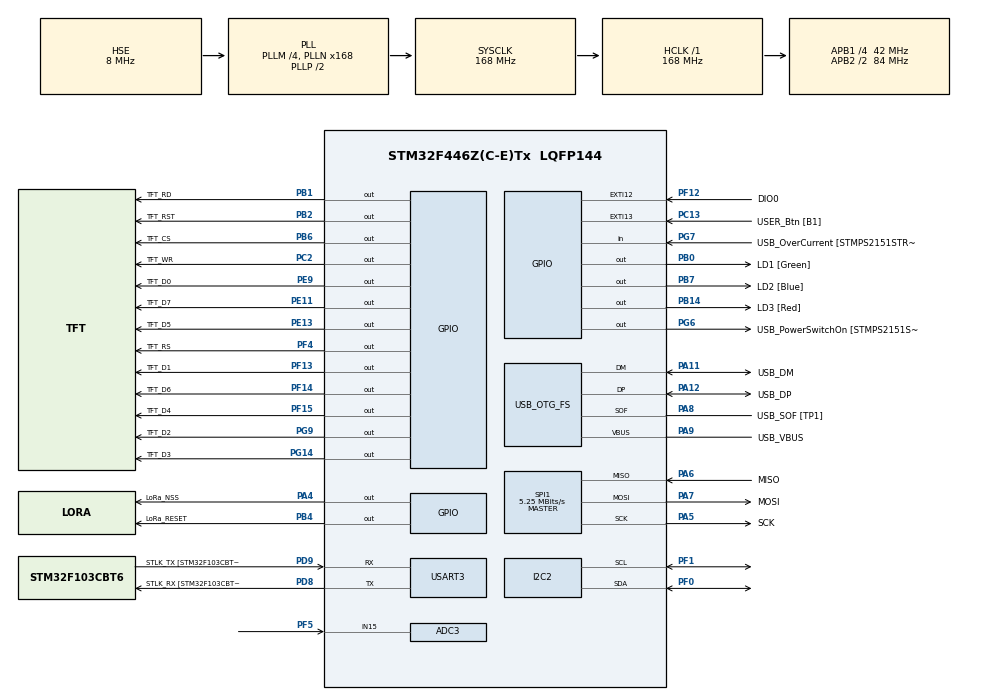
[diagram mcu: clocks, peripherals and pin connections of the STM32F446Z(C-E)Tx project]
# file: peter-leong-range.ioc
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ADC3.Channel-0\#ChannelRegularConversion=ADC_CHANNEL_15
ADC3.NbrOfConversionFlag=1
ADC3.Rank-0\#ChannelRegularConversion=1
ADC3.SamplingTime-0\#ChannelRegularConversion=ADC_SAMPLETIME_3CYCLES
Mcu.Family=STM32F4
Mcu.Name=STM32F446Z(C-E)Tx
Mcu.Package=LQFP144
NVIC.EXTI15_10_IRQn=true\:0\:0\:false\:false\:true\:true\:true\:true
NVIC.PriorityGroup=NVIC_PRIORITYGROUP_4
PA10.GPIO_Label=USB_ID
PA10.Signal=USB_OTG_FS_ID
PA11.GPIO_Label=USB_DM
PA11.Mode=Device_Only
PA11.Signal=USB_OTG_FS_DM
PA12.GPIO_Label=USB_DP
PA12.Mode=Device_Only
PA12.Signal=USB_OTG_FS_DP
PA13.GPIO_Label=TMS
PA13.Mode=Serial_Wire
PA13.Signal=SYS_JTMS-SWDIO
PA14.GPIO_Label=TCK
PA14.Mode=Serial_Wire
PA14.Signal=SYS_JTCK-SWCLK
PA4.GPIO_Label=LoRa_NSS
PA4.PinState=GPIO_PIN_SET
PA4.Signal=GPIO_Output
PA5.GPIO_Label=SCK
PA5.Mode=Full_Duplex_Master
PA5.Signal=SPI1_SCK
PA6.GPIO_Label=MISO
PA6.Mode=Full_Duplex_Master
PA6.Signal=SPI1_MISO
PA7.GPIO_Label=MOSI
PA7.Mode=Full_Duplex_Master
PA7.Signal=SPI1_MOSI
PA8.GPIO_Label=USB_SOF [TP1]
PA8.Mode=Activate_SOF_FS
PA8.Signal=USB_OTG_FS_SOF
PA9.GPIO_Label=USB_VBUS
PA9.Mode=Activate_VBUS
PA9.Signal=USB_OTG_FS_VBUS
PB0.GPIO_Label=LD1 [Green]
PB0.Signal=GPIO_Output
PB1.GPIO_Label=TFT_RD
PB1.GPIO_Speed=GPIO_SPEED_FREQ_VERY_HIGH
PB1.PinState=GPIO_PIN_SET
PB1.Signal=GPIO_Output
PB14.GPIO_Label=LD3 [Red]
PB14.Signal=GPIO_Output
PB2.GPIO_Label=TFT_RST
PB2.GPIO_Speed=GPIO_SPEED_FREQ_VERY_HIGH
PB2.PinState=GPIO_PIN_SET
PB2.Signal=GPIO_Output
PB4.GPIO_Label=LoRa_RESET
PB4.PinState=GPIO_PIN_SET
PB4.Signal=GPIO_Output
PB6.GPIO_Label=TFT_CS
PB6.GPIO_Speed=GPIO_SPEED_FREQ_VERY_HIGH
PB6.PinState=GPIO_PIN_SET
PB6.Signal=GPIO_Output
PB7.GPIO_Label=LD2 [Blue]
PB7.Signal=GPIO_Output
PC13.GPIO_Label=USER_Btn [B1]
PC13.Signal=GPXTI13
PC14-OSC32_IN.Mode=LSE-External-Oscillator
PC14-OSC32_IN.Signal=RCC_OSC32_IN
PC15-OSC32_OUT.Mode=LSE-External-Oscillator
PC15-OSC32_OUT.Signal=RCC_OSC32_OUT
PC2.GPIO_Label=TFT_WR
PC2.GPIO_Speed=GPIO_SPEED_FREQ_VERY_HIGH
PC2.Signal=GPIO_Output
PD8.GPIO_Label=STLK_RX [STM32F103CBT6_PA3]
PD8.Mode=Asynchronous
PD8.Signal=USART3_TX
PD9.GPIO_Label=STLK_TX [STM32F103CBT6_PA2]
PD9.Mode=Asynchronous
PD9.Signal=USART3_RX
PE11.GPIO_Label=TFT_D7
PE11.GPIO_Speed=GPIO_SPEED_FREQ_VERY_HIGH
PE11.Signal=GPIO_Output
PE13.GPIO_Label=TFT_D5
PE13.GPIO_Speed=GPIO_SPEED_FREQ_VERY_HIGH
PE13.Signal=GPIO_Output
PE9.GPIO_Label=TFT_D0
PE9.GPIO_Speed=GPIO_SPEED_FREQ_VERY_HIGH
PE9.Signal=GPIO_Output
PF0.Mode=I2C
PF0.Signal=I2C2_SDA
PF1.Mode=I2C
PF1.Signal=I2C2_SCL
PF12.GPIO_Label=DIO0
PF12.Signal=GPXTI12
PF13.GPIO_Label=TFT_D1
PF13.GPIO_Speed=GPIO_SPEED_FREQ_VERY_HIGH
PF13.Signal=GPIO_Output
PF14.GPIO_Label=TFT_D6
PF14.GPIO_Speed=GPIO_SPEED_FREQ_VERY_HIGH
PF14.Signal=GPIO_Output
PF15.GPIO_Label=TFT_D4
PF15.GPIO_Speed=GPIO_SPEED_FREQ_VERY_HIGH
PF15.Signal=GPIO_Output
PF4.GPIO_Label=TFT_RS
PF4.GPIO_Speed=GPIO_SPEED_FREQ_VERY_HIGH
PF4.Signal=GPIO_Output
PF5.Mode=IN15
PF5.Signal=ADC3_IN15
PG14.GPIO_Label=TFT_D3
PG14.GPIO_Speed=GPIO_SPEED_FREQ_VERY_HIGH
PG14.Signal=GPIO_Output
PG6.GPIO_Label=USB_PowerSwitchOn [STMPS2151STR_EN]
PG6.Signal=GPIO_Output
PG7.GPIO_Label=USB_OverCurrent [STMPS2151STR_FAULT]
PG7.Signal=GPIO_Input
PG9.GPIO_Label=TFT_D2
PG9.GPIO_Speed=GPIO_SPEED_FREQ_VERY_HIGH
PG9.Signal=GPIO_Output
PH0-OSC_IN.GPIO_Label=MCO [STM32F103CBT6_PA8]
PH0-OSC_IN.Mode=HSE-External-Clock-Source
PH0-OSC_IN.Signal=RCC_OSC_IN
PH1-OSC_OUT.Mode=HSE-External-Clock-Source
PH1-OSC_OUT.Signal=RCC_OSC_OUT
ProjectManager.HeapSize=0x200
ProjectManager.StackSize=0x400
ProjectManager.TargetToolchain=MDK-ARM V5.32
RCC.48MHZClocksFreq_Value=24000000
RCC.AHBFreq_Value=168000000
RCC.APB1CLKDivider=RCC_HCLK_DIV4
RCC.APB1Freq_Value=42000000
RCC.APB1TimFreq_Value=84000000
RCC.APB2CLKDivider=RCC_HCLK_DIV2
RCC.APB2Freq_Value=84000000
RCC.APB2TimFreq_Value=168000000
RCC.CortexFreq_Value=168000000
RCC.HCLKFreq_Value=168000000
RCC.HSE_VALUE=8000000
RCC.HSI_VALUE=16000000
RCC.PLLM=4
RCC.PLLMUL=RCC_PLL_MUL9
RCC.PLLN=168
RCC.PLLQ=7
RCC.PRESCALERUSB=RCC_USBCLKSOURCE_PLL_DIV1_5
RCC.SYSCLKFreq_VALUE=168000000
RCC.SYSCLKSource=RCC_SYSCLKSOURCE_PLLCLK
RCC.SYSCLKSourceVirtual=RCC_SYSCLKSOURCE_PLLCLK
RCC.USBFreq_Value=48000000
RCC.VCOOutputFreq_Value=336000000
SPI1.BaudRatePrescaler=SPI_BAUDRATEPRESCALER_16
SPI1.CalculateBaudRate=5.25 MBits/s
SPI1.Direction=SPI_DIRECTION_2LINES
SPI1.Mode=SPI_MODE_MASTER
SPI1.VirtualType=VM_MASTER
USART3.VirtualMode=VM_ASYNC
USB_OTG_FS.VirtualMode=Device_Only
board=NUCLEO-F446ZE

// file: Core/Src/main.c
/* USER CODE BEGIN Header */
/**
  ******************************************************************************
  * @file           : main.c
  * @brief          : Main program body
  ******************************************************************************
  * @attention
  *
  * Copyright (c) 2026 STMicroelectronics.
  * All rights reserved.
  *
  * This software is licensed under terms that can be found in the LICENSE file
  * in the root directory of this software component.
  * If no LICENSE file comes with this software, it is provided AS-IS.
  *
  ******************************************************************************
  */
/* USER CODE END Header */
#include "main.h"

/* USER CODE BEGIN Includes */
#include <stdio.h>
#include <string.h>
#include "LoRa.h"
#include "DFRobot_GNSS.h"
#include "ili9486.h"
#include "fonts.h"
#include "campus_map.h"
#include <math.h>

/* USER CODE END Includes */

/* USER CODE BEGIN PM */
#define GRID_STEP 40
#define SCREEN_REFRESH_PERIOD 500
#define BS_LONGITUDE -79.4042 //Longitude of Bloor-Spadina
#define BS_LATITUDE  43.666756 //Latitude of Bloor-Spadina
#define BY_LONGITUDE -79.386656 //Longitude of Bloor-Yonge
#define BY_LATITUDE 43.670444 //Latitude of Bloor-Yonge
#define M_PI 3.14159265358979323846
/* USER CODE END PM */

ADC_HandleTypeDef hadc3;

I2C_HandleTypeDef hi2c2;

SPI_HandleTypeDef hspi1;

UART_HandleTypeDef huart3;

PCD_HandleTypeDef hpcd_USB_OTG_FS;

void SystemClock_Config(void);
static void MX_GPIO_Init(void);
static void MX_SPI1_Init(void);
static void MX_USART3_UART_Init(void);
static void MX_USB_OTG_FS_PCD_Init(void);
static void MX_I2C2_Init(void);
static void MX_ADC3_Init(void);

/* USER CODE BEGIN 0 */

typedef enum {
	INIT,
	TX_RX,
	DRAW_SATS,
	DRAW_FAILED,
	DRAW_RSSI,
	PLOT_SELF,
	PLOT_OTHER
} SystemState;

//LoRa object and GNSS object
LoRa myLoRa;
DFRobot_GNSS_t gnss;

//Buffer to RECEIVE data
uint8_t received_data[64]; //raw data buffer
uint8_t packet_size = 0;
char msg_buffer[65]; //buffer for decoded string

//GNSS data object
sGNSS_Data_t currentData;
sGNSS_Data_t otherData;
//Buffer to TRANSMIT data
char lora_payload[64];

//Buffer for string that appears on DISPLAY
char string_buffer[100];
//Buffer for string that appears in serial monitor (for debugging)
char message[100];

//Landmark coordinates that appear on the map (RED)
const double landmarks[][2] = {
    {43.664391190112326, -79.39938251880149},  //Robarts
    {43.667395499459666, -79.39473914822973},  //ROM
    {43.66398503010839, -79.3943497650812},  //Hart House
    {43.662153820104415, -79.39143271015502},  //Legislative Assembly
};
const int num_landmarks = 4;

//Scale and angle parameters for map
static double scale = 0;
static double cos_a, sin_a, cos_lat;

//Print function for serial monitor
void print_msg(char *msg) {
	HAL_UART_Transmit(&huart3, (uint8_t *)msg, strlen(msg), 100);
}

/**
 * @brief Prints the current system state and # satellites to serial monitor.
 */
void Log_System_Status(SystemState state, int sats) {
    char state_name[20];

    // Get current state as a string
    switch (state) {
        case INIT:         strcpy(state_name, "INIT"); break;
        case TX_RX:        strcpy(state_name, "TX_RX"); break;
        case DRAW_SATS:    strcpy(state_name, "DRAW_SATS"); break;
        case DRAW_FAILED:  strcpy(state_name, "DRAW_FAILED"); break;
        case DRAW_RSSI:    strcpy(state_name, "DRAW_RSSI"); break;
        case PLOT_SELF:         strcpy(state_name, "PLOT_SELF"); break;
				case PLOT_OTHER:         strcpy(state_name, "PLOT_OTHER"); break;
        default:           strcpy(state_name, "UNKNOWN"); break;
    }

    // Prints state name and satellite count to serial monitor
    sprintf(message, "\r\n[STATE: %s] - Sats visible: %d\r\n", state_name, sats);
    print_msg(message);
}

/**
 * @brief  Initializing peripherals.
 * @return 1 if all peripherals initialized successfully, 0 if ANY failed.
 */
uint8_t setup_peripherals(void) {
    uint8_t status = 1; // Starts with success flag high

    sprintf(message, "\nStarting\n"); //Startup message (serial)
    print_msg(message);

    // DISPLAY SETUP
    ILI9486_Init();
    ILI9486_SetRotation(1); //Screen orientation
    ILI9486_FillScreen(ILI9486_ColorRGB(0, 0, 0)); //Black background
    ILI9486_DrawString(10, 10, "Starting Peter Long Range...", Font_11x18, WHITE, BLACK); //Display startup message on screen

    // LORA SETUP
    myLoRa = newLoRa();
    myLoRa.CS_port    = LoRa_NSS_GPIO_Port;
    myLoRa.CS_pin     = LoRa_NSS_Pin;
    myLoRa.reset_port = LoRa_RESET_GPIO_Port;
    myLoRa.reset_pin  = LoRa_RESET_Pin;
    myLoRa.DIO0_port  = DIO0_GPIO_Port;
    myLoRa.DIO0_pin   = DIO0_Pin;
    myLoRa.hSPIx      = &hspi1;

	//LoRa module handshake
    if (LoRa_init(&myLoRa) == LORA_OK) { //Module connected and recognized by controller
				//Serial confirmation
        sprintf(message, "LoRa Ready\r\n");
        print_msg(message);

	//Screen confirmation
        ILI9486_DrawString(10, 40, "LoRa Ready", Font_11x18, MAGENTA, BLACK);

    } else { //Error in module connection
				//Serial error message
        sprintf(message, "Error in LoRa connection\r\n");
        print_msg(message);

				//Screen error message
        ILI9486_DrawString(10, 40, "Error in LoRa connection", Font_11x18, RED, BLACK);
        status = 0; // Fail flag
    }

    // GNSS SETUP
    GNSS_Init(&gnss, &hi2c2); //I2C initialization
    GNSS_PowerControl(&gnss, true); //Turn on GNSS module

    // GNSS sensor handshake
    if (HAL_I2C_IsDeviceReady(&hi2c2, GNSS_DEVICE_ADDR, 1, 20000) == HAL_OK) { //GNSS is connected and recognized
				GNSS_SetMode(&gnss, eGPS_BeiDou_GLONASS); //GLONASS: receiving data from ALL satellites

				//Serial confirmation
        sprintf(message, "GNSS Ready");
        print_msg(message);

				//Screen confirmation
        ILI9486_DrawString(10, 70, "GNSS Ready", Font_11x18, GREEN, BLACK);
    } else { //Something wrong with GNSS connection
				//Serial error message
        sprintf(message, "Error in GNSS connection");
        print_msg(message);

				//Screen error message
        ILI9486_DrawString(10, 70, "Error in GNSS connection", Font_11x18, RED, BLACK);
        status = 0; // Fail flag
    }

    HAL_Delay(1000);

    return status;
}

/**
 * @brief  Gets GNSS data using DFRobot GNSS library
 * @param currentData - all data received from the GNSS module: latitude, longitude, satellite count, altitude, speed, course
 */
void GNSS_get_data() {
	// Gets data from GNSS module
	currentData = GNSS_GetAllData(&gnss);

	// Prints number of sats visible in the serial monitor
	sprintf(message, "\nSats visible: %d\r\n", currentData.satellites);
	print_msg(message);

	// Prints current coordinates in the serial monitor
	sprintf(message, "Lat: %f %c, Lon: %f %c\r\n",
					currentData.latitude, currentData.latDirection,
					currentData.longitude, currentData.lonDirection);
	print_msg(message);

// Puts coordinates and direction into data payload
	snprintf(lora_payload, sizeof(lora_payload), "%.6lf%c,%.6lf%c,%d",
    currentData.latitude,
    currentData.latDirection,
    currentData.longitude,
    currentData.lonDirection,
    currentData.satellites);
}

/**
 * @brief  TRANSMIT data with LoRa module
 */
void LoRa_Transmit() {
	//Successful transmission
	if(LoRa_transmit(&myLoRa, (uint8_t*)lora_payload, strlen(lora_payload), 100) == 1) {
		print_msg("\nTransmission Successful!\r"); //Serial monitor confirmation
	} else {
		print_msg("\nTransmission Failed.\r"); //Serial monitor error message
	}
}

/**
 * @brief  RECEIVES data with LoRa module, waits up to 2 seconds to receive a packet
 * @return 1 if packet was received, 0 if no packets were received
 */
uint8_t LoRa_Recieve() {
		//Turn on receive mode
    LoRa_startReceiving(&myLoRa);

		//Sets timer start time and timer length
    uint32_t startTime = HAL_GetTick();
    uint32_t timeout_ms = 2000; // wait up to 2 seconds to receive a packet

		//Keep waiting for a receive until timer runs out
    while (HAL_GetTick() - startTime < timeout_ms) {
				//Polls LoRa receive IRQ flag
        uint8_t irqFlags = LoRa_read(&myLoRa, RegIrqFlags);

        if (irqFlags & 0x40) { //Receive flag set
            //Checks for CRC error (bit 5)
            if (irqFlags & 0x20) {
                LoRa_write(&myLoRa, RegIrqFlags, 0xFF); //Clears receive flag to keep trying
                print_msg("CRC Error!\r\n"); //Serial error message
                return 0;
            }
            // No error, read received data
            packet_size = LoRa_receive(&myLoRa, received_data, sizeof(received_data));

            if (packet_size > 0) { // Data packet received
                memcpy(msg_buffer, received_data, packet_size); // Copies received data to receive message buffer
                msg_buffer[packet_size] = '\0'; // Null termination

								//Serial message of received data
                sprintf(message, "\nReceived: %s\r\n", msg_buffer);
                print_msg(message);

                return 1;
            }
        }
        HAL_Delay(10);
    }

		//Timer ran out without receiving anything
    print_msg("RX Timeout\r\n");
    return 0;
}

/**
 * @brief  Approximates Bloor-Spadina, Bloor-Yonge, College-Spadina, College-Yonge to a rectangle.
					 Calculates the tilt of the rectangle relative to lon-lat grid and scales lon-lat coordinates
					 to 480x320 array.
 */
void latlon_init(void) {
    cos_lat = cos(BS_LATITUDE * M_PI / 180.0); //Latitude correction for reference coordinate
		//Calculating difference in lon, lat between Bloor-Spadina (0,0) and Bloor-Yonge (480, 0)
    double dx = (BY_LONGITUDE - BS_LONGITUDE) * cos_lat;
    double dy = BY_LATITUDE - BS_LATITUDE;

		//Calculating angle tilt of map relative to lon-lat grid
    double angle = atan2(-dy, dx);
    cos_a = cos(angle);
    sin_a = sin(angle);
    double gx = cos_a * dx - sin_a * dy;
		//Calculates scaling factor using screen width
    scale = 480 / gx;
}

/**
 * @brief  Applies scaling rotational transformation to any input coordinates to map them to display pixels.
 * @param dx, dy - change in lon, lat from reference coordinate (Bloor-Spadina = (0,0))
 */
void latlon_to_px(double lon, double lat, int *px, int *py) {
    double dx = (lon - BS_LONGITUDE) * cos_lat;
    double dy = lat - BS_LATITUDE;
    double gx = cos_a * dx - sin_a * dy;
    double gy = sin_a * dx + cos_a * dy;
    *px = (int)(gx * scale);
    *py = (int)(-gy * scale);
}

/**
 * @brief  Draws a square of a certain color and size at given coordinates
 */
void draw_dot(int x, int y, int size, uint16_t color) {
    for (int dy = -size; dy <= size; dy++)
        for (int dx = -size; dx <= size; dx++)
            ILI9486_DrawPixel(x + dx, y + dy - 10, color);
}

/**
 * @brief  Marks certain landmarks on the map using the draw_dot function
 */
void draw_landmarks() {
    int x, y;
    for (int i = 0; i < num_landmarks; i++) {
        latlon_to_px(landmarks[i][1], landmarks[i][0], &x, &y);
        draw_dot(x, y, 2, 0xF800);
    }
}

// Track the last drawn position
static int last_my_x = -1,  last_my_y = -1;
static int last_other_x = -1, last_other_y = -1;

void draw_position(sGNSS_Data_t *data, int *last_x, int *last_y, int radius, uint16_t color) {

    // Erase previous
    if (*last_x >= 0 && *last_y >= 0) {
        for (int dy = -radius; dy <= radius; dy++) {
            for (int dx = -radius; dx <= radius; dx++) {
                int px = *last_x + dx;
                int py = *last_y + dy - 10;
                if (px < 0 || px >= CAMPUS_MAP_WIDTH || py < 0 || py >= CAMPUS_MAP_HEIGHT) continue;
                ILI9486_DrawPixel(px, py, CAMPUS_MAP[py * CAMPUS_MAP_WIDTH + px]);
            }
        }
    }

    int x, y;
    double lat = data->latitude;
    double lon = data->longitude;
    if (data->latDirection == 'S') lat = -lat;
    if (data->lonDirection == 'W') lon = -lon;

    latlon_to_px(lon, lat, &x, &y);

    if (x < 0 || x >= 480 || y < 0 || y >= 320) {
        sprintf(message, "Position out of bounds: x=%d y=%d\r\n", x, y);
        print_msg(message);
        return;
    }

    draw_dot(x, y, radius, color);
    *last_x = x;
    *last_y = y;
}

sGNSS_Data_t parse_lora_payload(char *payload) {
    sGNSS_Data_t data = {0};
    int sats_tmp = 0;

    if (sscanf(payload, "%lf%c,%lf%c,%d",
               &data.latitude,  &data.latDirection,
               &data.longitude, &data.lonDirection,
               &sats_tmp) != 5) {
        sprintf(message, "Parse failed: [%s]\r\n", payload);
        print_msg(message);
        return data;
    }
    data.satellites = (uint8_t)sats_tmp;

    sprintf(message, "Parsed - Lat: %f %c, Lon: %f %c, Sats: %d\r\n",
            data.latitude, data.latDirection,
            data.longitude, data.lonDirection,
            data.satellites);
    print_msg(message);

    return data;
}

void GNSS_simulate_walk(uint32_t step_ms, uint32_t num_steps) {

    static const double START_LAT =  43.663639;
    static const double START_LON = -79.390528;
    static const double END_LAT   =  43.664860;
    static const double END_LON   = -79.384875;

    static uint32_t current_step = 0;
    static uint32_t last_step_time = 0;
    static uint8_t forward = 1;          // 1 = walking to end, 0 = walking back

    uint32_t now = HAL_GetTick();

    // Advance one step if enough time has elapsed
    if (now - last_step_time >= step_ms) {
        last_step_time = now;

        if (forward) {
            current_step++;
            if (current_step >= num_steps) {
                current_step = num_steps;  // clamp at end
                forward = 0;               // reverse direction
            }
        } else {
            if (current_step > 0) {
                current_step--;
            } else {
                forward = 1;               // hit start, go forward again
            }
        }
    }

    // t in [0.0, 1.0]
    double t = (double)current_step / (double)num_steps;

    // Interpolate
    double sim_lat = START_LAT + t * (END_LAT - START_LAT);
    double sim_lon = START_LON + t * (END_LON - START_LON);

    // Pack into currentData
    currentData.latitude     = sim_lat;
    currentData.latDirection = 'N';
    currentData.longitude    = -sim_lon;
    currentData.lonDirection = 'W';
    currentData.satellites   = 6;

    snprintf(lora_payload, sizeof(lora_payload), "%.6lf%c,%.6lf%c,%d",
             currentData.latitude,  currentData.latDirection,
             currentData.longitude, currentData.lonDirection,
             currentData.satellites);

    sprintf(message, "Sats visible: %d\r\n", currentData.satellites);
}

/* USER CODE END 0 */
int main(void)
{

  /* MCU Configuration--------------------------------------------------------*/

  /* Reset of all peripherals, Initializes the Flash interface and the Systick. */
  HAL_Init();

  /* Configure the system clock */
  SystemClock_Config();

  /* Initialize all configured peripherals */
  MX_GPIO_Init();
  MX_SPI1_Init();
  MX_USART3_UART_Init();
  MX_USB_OTG_FS_PCD_Init();
  MX_I2C2_Init();
  MX_ADC3_Init();

  /* Infinite loop */
  /* USER CODE BEGIN WHILE */

	SystemState currentState = INIT;

	uint32_t refreshedTime = HAL_GetTick();
	uint8_t dataRecieved = 0;

  while (1) {
		// FSM
		switch (currentState) {
			case INIT: {
				uint8_t setupStatus = setup_peripherals();

				if (setupStatus) {
					latlon_init();
					// Draw the background
					ILI9486_DrawImage(0, 0, CAMPUS_MAP_WIDTH, CAMPUS_MAP_HEIGHT, CAMPUS_MAP);
					draw_landmarks();

					currentState = TX_RX;
				}
				break;
			}

			case TX_RX: {
				GNSS_get_data();
				// GNSS_simulate_walk(100, 10);
				LoRa_Transmit();
				dataRecieved = LoRa_Recieve();

				if (HAL_GetTick() - refreshedTime > SCREEN_REFRESH_PERIOD) {
					refreshedTime = HAL_GetTick();
					currentState = DRAW_SATS;
				}
				break;
			}

			case DRAW_SATS: {

				sprintf(string_buffer, "Sats Visible: %d", currentData.satellites);
				ILI9486_FillRect(10, 10, 200, 20, WHITE); // ERASE
				ILI9486_DrawString(10, 10, string_buffer, Font_11x18, RED, WHITE); // DRAW

				sprintf(message, "\n DRAW - Sats visible: %d\r\n", currentData.satellites);
				print_msg(message);

				if (dataRecieved) {
					currentState = DRAW_RSSI;
				} else {
					currentState = DRAW_FAILED;
				}
				break;
			}

			case DRAW_FAILED: {
				ILI9486_FillRect(200, 10, 200, 20, WHITE); // ERASE
				ILI9486_DrawString(200, 10, "Recieve Failed", Font_11x18, RED, WHITE);

				sprintf(message, "\nRecieved Failed\r\n");
				print_msg(message);

				// Plot self if we have a fix, regardless of other device
				if (currentData.satellites >= 3) {
						currentState = PLOT_SELF;
				} else {
						currentState = TX_RX;
				}
				break;
			}

			case DRAW_RSSI: {
				int32_t rssi = LoRa_getRSSI(&myLoRa);
				sprintf(string_buffer, "RSSI: %d dB", rssi);
				ILI9486_FillRect(200, 10, 170, 20, WHITE); // ERASE
				ILI9486_DrawString(200, 10, string_buffer, Font_11x18, RED, WHITE);

				// Always try to plot — PLOT_SELF and PLOT_OTHER each guard themselves
				currentState = PLOT_SELF;
				break;
			}

			case PLOT_SELF: {
				if (currentData.satellites >= 3) {
					draw_position(&currentData, &last_my_x, &last_my_y, 8, BLUE);
				}

				if (dataRecieved) {
					otherData = parse_lora_payload(msg_buffer);
				}

				// Always proceed to PLOT_OTHER — let it decide whether to draw
				currentState = PLOT_OTHER;
				break;
			}

			case PLOT_OTHER: {
				if (otherData.satellites >= 3) {
					draw_position(&otherData, &last_other_x, &last_other_y, 8, GREEN);
				}
				currentState = TX_RX;
				break;  // <-- this was also missing a break!
			}
		}

    /* USER CODE END WHILE */

  }
}

void SystemClock_Config(void)
{
  RCC_OscInitTypeDef RCC_OscInitStruct = {0};
  RCC_ClkInitTypeDef RCC_ClkInitStruct = {0};

  /** Configure the main internal regulator output voltage
  */
  __HAL_RCC_PWR_CLK_ENABLE();
  __HAL_PWR_VOLTAGESCALING_CONFIG(PWR_REGULATOR_VOLTAGE_SCALE1);

  /** Initializes the RCC Oscillators according to the specified parameters
  * in the RCC_OscInitTypeDef structure.
  */
  RCC_OscInitStruct.OscillatorType = RCC_OSCILLATORTYPE_HSE;
  RCC_OscInitStruct.HSEState = RCC_HSE_BYPASS;
  RCC_OscInitStruct.PLL.PLLState = RCC_PLL_ON;
  RCC_OscInitStruct.PLL.PLLSource = RCC_PLLSOURCE_HSE;
  RCC_OscInitStruct.PLL.PLLM = 4;
  RCC_OscInitStruct.PLL.PLLN = 168;
  RCC_OscInitStruct.PLL.PLLP = RCC_PLLP_DIV2;
  RCC_OscInitStruct.PLL.PLLQ = 7;
  RCC_OscInitStruct.PLL.PLLR = 2;
  if (HAL_RCC_OscConfig(&RCC_OscInitStruct) != HAL_OK)
  {
    Error_Handler();
  }

  /** Initializes the CPU, AHB and APB buses clocks
  */
  RCC_ClkInitStruct.ClockType = RCC_CLOCKTYPE_HCLK|RCC_CLOCKTYPE_SYSCLK
                              |RCC_CLOCKTYPE_PCLK1|RCC_CLOCKTYPE_PCLK2;
  RCC_ClkInitStruct.SYSCLKSource = RCC_SYSCLKSOURCE_PLLCLK;
  RCC_ClkInitStruct.AHBCLKDivider = RCC_SYSCLK_DIV1;
  RCC_ClkInitStruct.APB1CLKDivider = RCC_HCLK_DIV4;
  RCC_ClkInitStruct.APB2CLKDivider = RCC_HCLK_DIV2;

  if (HAL_RCC_ClockConfig(&RCC_ClkInitStruct, FLASH_LATENCY_5) != HAL_OK)
  {
    Error_Handler();
  }
}

static void MX_ADC3_Init(void)
{

  ADC_ChannelConfTypeDef sConfig = {0};

  /** Configure the global features of the ADC (Clock, Resolution, Data Alignment and number of conversion)
  */
  hadc3.Instance = ADC3;
  hadc3.Init.ClockPrescaler = ADC_CLOCK_SYNC_PCLK_DIV4;
  hadc3.Init.Resolution = ADC_RESOLUTION_12B;
  hadc3.Init.ScanConvMode = DISABLE;
  hadc3.Init.ContinuousConvMode = DISABLE;
  hadc3.Init.DiscontinuousConvMode = DISABLE;
  hadc3.Init.ExternalTrigConvEdge = ADC_EXTERNALTRIGCONVEDGE_NONE;
  hadc3.Init.ExternalTrigConv = ADC_SOFTWARE_START;
  hadc3.Init.DataAlign = ADC_DATAALIGN_RIGHT;
  hadc3.Init.NbrOfConversion = 1;
  hadc3.Init.DMAContinuousRequests = DISABLE;
  hadc3.Init.EOCSelection = ADC_EOC_SINGLE_CONV;
  if (HAL_ADC_Init(&hadc3) != HAL_OK)
  {
    Error_Handler();
  }

  /** Configure for the selected ADC regular channel its corresponding rank in the sequencer and its sample time.
  */
  sConfig.Channel = ADC_CHANNEL_15;
  sConfig.Rank = 1;
  sConfig.SamplingTime = ADC_SAMPLETIME_3CYCLES;
  if (HAL_ADC_ConfigChannel(&hadc3, &sConfig) != HAL_OK)
  {
    Error_Handler();
  }

}

static void MX_I2C2_Init(void)
{

  hi2c2.Instance = I2C2;
  hi2c2.Init.ClockSpeed = 100000;
  hi2c2.Init.DutyCycle = I2C_DUTYCYCLE_2;
  hi2c2.Init.OwnAddress1 = 0;
  hi2c2.Init.AddressingMode = I2C_ADDRESSINGMODE_7BIT;
  hi2c2.Init.DualAddressMode = I2C_DUALADDRESS_DISABLE;
  hi2c2.Init.OwnAddress2 = 0;
  hi2c2.Init.GeneralCallMode = I2C_GENERALCALL_DISABLE;
  hi2c2.Init.NoStretchMode = I2C_NOSTRETCH_DISABLE;
  if (HAL_I2C_Init(&hi2c2) != HAL_OK)
  {
    Error_Handler();
  }

}

static void MX_SPI1_Init(void)
{

  /* SPI1 parameter configuration*/
  hspi1.Instance = SPI1;
  hspi1.Init.Mode = SPI_MODE_MASTER;
  hspi1.Init.Direction = SPI_DIRECTION_2LINES;
  hspi1.Init.DataSize = SPI_DATASIZE_8BIT;
  hspi1.Init.CLKPolarity = SPI_POLARITY_LOW;
  hspi1.Init.CLKPhase = SPI_PHASE_1EDGE;
  hspi1.Init.NSS = SPI_NSS_SOFT;
  hspi1.Init.BaudRatePrescaler = SPI_BAUDRATEPRESCALER_16;
  hspi1.Init.FirstBit = SPI_FIRSTBIT_MSB;
  hspi1.Init.TIMode = SPI_TIMODE_DISABLE;
  hspi1.Init.CRCCalculation = SPI_CRCCALCULATION_DISABLE;
  hspi1.Init.CRCPolynomial = 10;
  if (HAL_SPI_Init(&hspi1) != HAL_OK)
  {
    Error_Handler();
  }

}

static void MX_USART3_UART_Init(void)
{

  huart3.Instance = USART3;
  huart3.Init.BaudRate = 115200;
  huart3.Init.WordLength = UART_WORDLENGTH_8B;
  huart3.Init.StopBits = UART_STOPBITS_1;
  huart3.Init.Parity = UART_PARITY_NONE;
  huart3.Init.Mode = UART_MODE_TX_RX;
  huart3.Init.HwFlowCtl = UART_HWCONTROL_NONE;
  huart3.Init.OverSampling = UART_OVERSAMPLING_16;
  if (HAL_UART_Init(&huart3) != HAL_OK)
  {
    Error_Handler();
  }

}

static void MX_USB_OTG_FS_PCD_Init(void)
{

  hpcd_USB_OTG_FS.Instance = USB_OTG_FS;
  hpcd_USB_OTG_FS.Init.dev_endpoints = 6;
  hpcd_USB_OTG_FS.Init.speed = PCD_SPEED_FULL;
  hpcd_USB_OTG_FS.Init.dma_enable = DISABLE;
  hpcd_USB_OTG_FS.Init.phy_itface = PCD_PHY_EMBEDDED;
  hpcd_USB_OTG_FS.Init.Sof_enable = ENABLE;
  hpcd_USB_OTG_FS.Init.low_power_enable = DISABLE;
  hpcd_USB_OTG_FS.Init.lpm_enable = DISABLE;
  hpcd_USB_OTG_FS.Init.vbus_sensing_enable = ENABLE;
  hpcd_USB_OTG_FS.Init.use_dedicated_ep1 = DISABLE;
  if (HAL_PCD_Init(&hpcd_USB_OTG_FS) != HAL_OK)
  {
    Error_Handler();
  }

}

static void MX_GPIO_Init(void)
{
  GPIO_InitTypeDef GPIO_InitStruct = {0};

  /* GPIO Ports Clock Enable */
  __HAL_RCC_GPIOC_CLK_ENABLE();
  __HAL_RCC_GPIOF_CLK_ENABLE();
  __HAL_RCC_GPIOH_CLK_ENABLE();
  __HAL_RCC_GPIOA_CLK_ENABLE();
  __HAL_RCC_GPIOB_CLK_ENABLE();
  __HAL_RCC_GPIOE_CLK_ENABLE();
  __HAL_RCC_GPIOD_CLK_ENABLE();
  __HAL_RCC_GPIOG_CLK_ENABLE();

  /*Configure GPIO pin Output Level */
  HAL_GPIO_WritePin(GPIOF, TFT_RS_Pin|TFT_D1_Pin|TFT_D6_Pin|TFT_D4_Pin, GPIO_PIN_RESET);

  /*Configure GPIO pin Output Level */
  HAL_GPIO_WritePin(TFT_WR_GPIO_Port, TFT_WR_Pin, GPIO_PIN_RESET);

  /*Configure GPIO pin Output Level */
  HAL_GPIO_WritePin(LoRa_NSS_GPIO_Port, LoRa_NSS_Pin, GPIO_PIN_SET);

  /*Configure GPIO pin Output Level */
  HAL_GPIO_WritePin(GPIOB, LD1_Pin|LD3_Pin|LD2_Pin, GPIO_PIN_RESET);

  /*Configure GPIO pin Output Level */
  HAL_GPIO_WritePin(GPIOB, TFT_RD_Pin|TFT_RST_Pin|LoRa_RESET_Pin|TFT_CS_Pin, GPIO_PIN_SET);

  /*Configure GPIO pin Output Level */
  HAL_GPIO_WritePin(GPIOE, TFT_D0_Pin|TFT_D7_Pin|TFT_D5_Pin, GPIO_PIN_RESET);

  /*Configure GPIO pin Output Level */
  HAL_GPIO_WritePin(GPIOG, USB_PowerSwitchOn_Pin|TFT_D2_Pin|TFT_D3_Pin, GPIO_PIN_RESET);

  /*Configure GPIO pin : USER_Btn_Pin */
  GPIO_InitStruct.Pin = USER_Btn_Pin;
  GPIO_InitStruct.Mode = GPIO_MODE_IT_RISING;
  GPIO_InitStruct.Pull = GPIO_NOPULL;
  HAL_GPIO_Init(USER_Btn_GPIO_Port, &GPIO_InitStruct);

  /*Configure GPIO pins : TFT_RS_Pin TFT_D1_Pin TFT_D6_Pin TFT_D4_Pin */
  GPIO_InitStruct.Pin = TFT_RS_Pin|TFT_D1_Pin|TFT_D6_Pin|TFT_D4_Pin;
  GPIO_InitStruct.Mode = GPIO_MODE_OUTPUT_PP;
  GPIO_InitStruct.Pull = GPIO_NOPULL;
  GPIO_InitStruct.Speed = GPIO_SPEED_FREQ_VERY_HIGH;
  HAL_GPIO_Init(GPIOF, &GPIO_InitStruct);

  /*Configure GPIO pin : TFT_WR_Pin */
  GPIO_InitStruct.Pin = TFT_WR_Pin;
  GPIO_InitStruct.Mode = GPIO_MODE_OUTPUT_PP;
  GPIO_InitStruct.Pull = GPIO_NOPULL;
  GPIO_InitStruct.Speed = GPIO_SPEED_FREQ_VERY_HIGH;
  HAL_GPIO_Init(TFT_WR_GPIO_Port, &GPIO_InitStruct);

  /*Configure GPIO pin : LoRa_NSS_Pin */
  GPIO_InitStruct.Pin = LoRa_NSS_Pin;
  GPIO_InitStruct.Mode = GPIO_MODE_OUTPUT_PP;
  GPIO_InitStruct.Pull = GPIO_NOPULL;
  GPIO_InitStruct.Speed = GPIO_SPEED_FREQ_LOW;
  HAL_GPIO_Init(LoRa_NSS_GPIO_Port, &GPIO_InitStruct);

  /*Configure GPIO pins : LD1_Pin LD3_Pin LoRa_RESET_Pin LD2_Pin */
  GPIO_InitStruct.Pin = LD1_Pin|LD3_Pin|LoRa_RESET_Pin|LD2_Pin;
  GPIO_InitStruct.Mode = GPIO_MODE_OUTPUT_PP;
  GPIO_InitStruct.Pull = GPIO_NOPULL;
  GPIO_InitStruct.Speed = GPIO_SPEED_FREQ_LOW;
  HAL_GPIO_Init(GPIOB, &GPIO_InitStruct);

  /*Configure GPIO pins : TFT_RD_Pin TFT_RST_Pin TFT_CS_Pin */
  GPIO_InitStruct.Pin = TFT_RD_Pin|TFT_RST_Pin|TFT_CS_Pin;
  GPIO_InitStruct.Mode = GPIO_MODE_OUTPUT_PP;
  GPIO_InitStruct.Pull = GPIO_NOPULL;
  GPIO_InitStruct.Speed = GPIO_SPEED_FREQ_VERY_HIGH;
  HAL_GPIO_Init(GPIOB, &GPIO_InitStruct);

  /*Configure GPIO pin : DIO0_Pin */
  GPIO_InitStruct.Pin = DIO0_Pin;
  GPIO_InitStruct.Mode = GPIO_MODE_IT_RISING;
  GPIO_InitStruct.Pull = GPIO_NOPULL;
  HAL_GPIO_Init(DIO0_GPIO_Port, &GPIO_InitStruct);

  /*Configure GPIO pins : TFT_D0_Pin TFT_D7_Pin TFT_D5_Pin */
  GPIO_InitStruct.Pin = TFT_D0_Pin|TFT_D7_Pin|TFT_D5_Pin;
  GPIO_InitStruct.Mode = GPIO_MODE_OUTPUT_PP;
  GPIO_InitStruct.Pull = GPIO_NOPULL;
  GPIO_InitStruct.Speed = GPIO_SPEED_FREQ_VERY_HIGH;
  HAL_GPIO_Init(GPIOE, &GPIO_InitStruct);

  /*Configure GPIO pin : USB_PowerSwitchOn_Pin */
  GPIO_InitStruct.Pin = USB_PowerSwitchOn_Pin;
  GPIO_InitStruct.Mode = GPIO_MODE_OUTPUT_PP;
  GPIO_InitStruct.Pull = GPIO_NOPULL;
  GPIO_InitStruct.Speed = GPIO_SPEED_FREQ_LOW;
  HAL_GPIO_Init(USB_PowerSwitchOn_GPIO_Port, &GPIO_InitStruct);

  /*Configure GPIO pin : USB_OverCurrent_Pin */
  GPIO_InitStruct.Pin = USB_OverCurrent_Pin;
  GPIO_InitStruct.Mode = GPIO_MODE_INPUT;
  GPIO_InitStruct.Pull = GPIO_NOPULL;
  HAL_GPIO_Init(USB_OverCurrent_GPIO_Port, &GPIO_InitStruct);

  /*Configure GPIO pins : TFT_D2_Pin TFT_D3_Pin */
  GPIO_InitStruct.Pin = TFT_D2_Pin|TFT_D3_Pin;
  GPIO_InitStruct.Mode = GPIO_MODE_OUTPUT_PP;
  GPIO_InitStruct.Pull = GPIO_NOPULL;
  GPIO_InitStruct.Speed = GPIO_SPEED_FREQ_VERY_HIGH;
  HAL_GPIO_Init(GPIOG, &GPIO_InitStruct);

  /* EXTI interrupt init*/
  HAL_NVIC_SetPriority(EXTI15_10_IRQn, 0, 0);
  HAL_NVIC_EnableIRQ(EXTI15_10_IRQn);

}

/* USER CODE BEGIN 4 */
uint8_t sd3031_readReg(uint8_t reg, void* pBuf, size_t size) {
    // The SD3031 address is 0x32 (standard) or adjusted by your library defines
    // HAL expects address shifted left by 1: (0x32 << 1)
    if (HAL_I2C_Mem_Read(&hi2c2, (0x32 << 1), reg, I2C_MEMADD_SIZE_8BIT, (uint8_t *)pBuf, size, 100) == HAL_OK) {
        return 0;
    }
    return 1;
}

void sd3031_writeReg(uint8_t reg, void* pBuf, size_t size) {
    HAL_I2C_Mem_Write(&hi2c2, (0x32 << 1), reg, I2C_MEMADD_SIZE_8BIT, (uint8_t *)pBuf, size, 100);
}
/* USER CODE END 4 */

void Error_Handler(void)
{
  __disable_irq();
  while (1)
  {
  }
}
